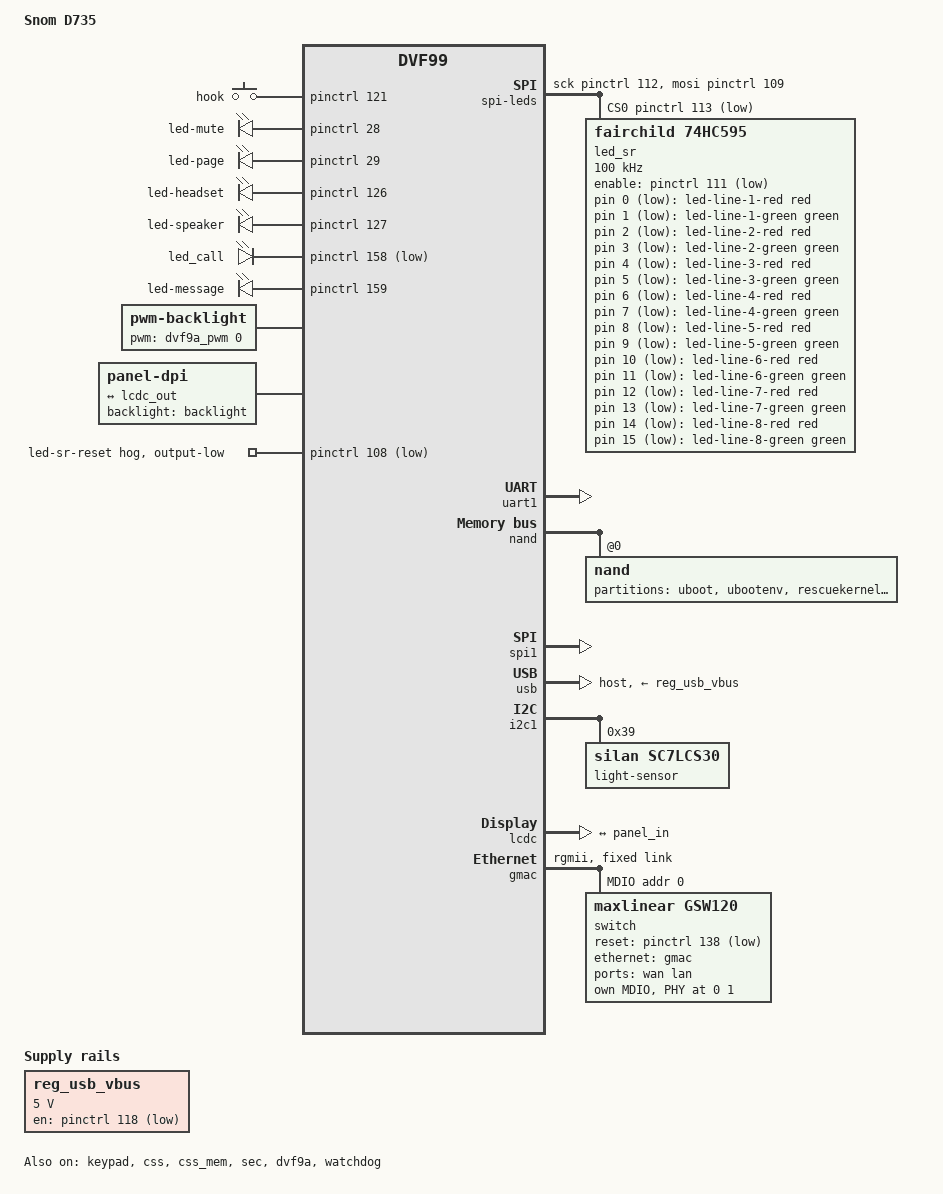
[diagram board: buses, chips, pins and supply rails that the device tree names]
// SPDX-License-Identifier: GPL-2.0-only OR MIT
/*
 * Copyright (C) 2026 John Crispin <john@phrozen.org>
 */

/dts-v1/;

#include "dvf99.dtsi"

#include <dt-bindings/gpio/gpio.h>
#include <dt-bindings/input/input.h>
#include <dt-bindings/leds/common.h>

/ {
	model = "Snom D735";
	compatible = "snom,d735", "dspg,dvf99";

	aliases {
		serial0 = &uart1;
		serial1 = &uart2;
		ethernet0 = &gmac;
		led-boot = &led_call;
		led-failsafe = &led_call;
		led-upgrade = &led_call;
	};

	chosen {
		bootargs = "console=ttyS0,115200 earlycon";
		stdout-path = "serial0:115200n8";
	};

	keys {
		compatible = "gpio-keys";

		hook {
			label = "hook";
			gpios = <&pinctrl 121 GPIO_ACTIVE_HIGH>;
			linux,code = <KEY_PHONE>;
			debounce-interval = <50>;
		};
	};

	spi-leds {
		compatible = "spi-gpio";
		#address-cells = <1>;
		#size-cells = <0>;
		sck-gpios = <&pinctrl 112 GPIO_ACTIVE_HIGH>;
		mosi-gpios = <&pinctrl 109 GPIO_ACTIVE_HIGH>;
		cs-gpios = <&pinctrl 113 GPIO_ACTIVE_LOW>;
		num-chipselects = <1>;

		led_sr: gpio@0 {
			compatible = "fairchild,74hc595";
			reg = <0>;
			spi-max-frequency = <100000>;
			gpio-controller;
			#gpio-cells = <2>;
			registers-number = <2>;
			enable-gpios = <&pinctrl 111 GPIO_ACTIVE_LOW>;
		};
	};

	leds {
		compatible = "gpio-leds";

		led-mute {
			function = LED_FUNCTION_MUTE;
			gpios = <&pinctrl 28 GPIO_ACTIVE_HIGH>;
			default-state = "keep";
		};

		led-page {
			function = "page";
			gpios = <&pinctrl 29 GPIO_ACTIVE_HIGH>;
			default-state = "keep";
		};

		led-headset {
			function = "headset";
			gpios = <&pinctrl 126 GPIO_ACTIVE_HIGH>;
			default-state = "keep";
		};

		led-speaker {
			function = "speaker";
			gpios = <&pinctrl 127 GPIO_ACTIVE_HIGH>;
			default-state = "keep";
		};

		led_call: led-call {
			function = "call";
			gpios = <&pinctrl 158 GPIO_ACTIVE_LOW>;
			default-state = "keep";
		};

		led-message {
			function = "message";
			gpios = <&pinctrl 159 GPIO_ACTIVE_HIGH>;
			default-state = "keep";
		};

		led-line-1-red {
			color = <LED_COLOR_ID_RED>;
			function = "line";
			function-enumerator = <1>;
			gpios = <&led_sr 0 GPIO_ACTIVE_LOW>;
		};

		led-line-1-green {
			color = <LED_COLOR_ID_GREEN>;
			function = "line";
			function-enumerator = <1>;
			gpios = <&led_sr 1 GPIO_ACTIVE_LOW>;
		};

		led-line-2-red {
			color = <LED_COLOR_ID_RED>;
			function = "line";
			function-enumerator = <2>;
			gpios = <&led_sr 2 GPIO_ACTIVE_LOW>;
		};

		led-line-2-green {
			color = <LED_COLOR_ID_GREEN>;
			function = "line";
			function-enumerator = <2>;
			gpios = <&led_sr 3 GPIO_ACTIVE_LOW>;
		};

		led-line-3-red {
			color = <LED_COLOR_ID_RED>;
			function = "line";
			function-enumerator = <3>;
			gpios = <&led_sr 4 GPIO_ACTIVE_LOW>;
		};

		led-line-3-green {
			color = <LED_COLOR_ID_GREEN>;
			function = "line";
			function-enumerator = <3>;
			gpios = <&led_sr 5 GPIO_ACTIVE_LOW>;
		};

		led-line-4-red {
			color = <LED_COLOR_ID_RED>;
			function = "line";
			function-enumerator = <4>;
			gpios = <&led_sr 6 GPIO_ACTIVE_LOW>;
		};

		led-line-4-green {
			color = <LED_COLOR_ID_GREEN>;
			function = "line";
			function-enumerator = <4>;
			gpios = <&led_sr 7 GPIO_ACTIVE_LOW>;
		};

		led-line-5-red {
			color = <LED_COLOR_ID_RED>;
			function = "line";
			function-enumerator = <5>;
			gpios = <&led_sr 8 GPIO_ACTIVE_LOW>;
		};

		led-line-5-green {
			color = <LED_COLOR_ID_GREEN>;
			function = "line";
			function-enumerator = <5>;
			gpios = <&led_sr 9 GPIO_ACTIVE_LOW>;
		};

		led-line-6-red {
			color = <LED_COLOR_ID_RED>;
			function = "line";
			function-enumerator = <6>;
			gpios = <&led_sr 10 GPIO_ACTIVE_LOW>;
		};

		led-line-6-green {
			color = <LED_COLOR_ID_GREEN>;
			function = "line";
			function-enumerator = <6>;
			gpios = <&led_sr 11 GPIO_ACTIVE_LOW>;
		};

		led-line-7-red {
			color = <LED_COLOR_ID_RED>;
			function = "line";
			function-enumerator = <7>;
			gpios = <&led_sr 12 GPIO_ACTIVE_LOW>;
		};

		led-line-7-green {
			color = <LED_COLOR_ID_GREEN>;
			function = "line";
			function-enumerator = <7>;
			gpios = <&led_sr 13 GPIO_ACTIVE_LOW>;
		};

		led-line-8-red {
			color = <LED_COLOR_ID_RED>;
			function = "line";
			function-enumerator = <8>;
			gpios = <&led_sr 14 GPIO_ACTIVE_LOW>;
		};

		led-line-8-green {
			color = <LED_COLOR_ID_GREEN>;
			function = "line";
			function-enumerator = <8>;
			gpios = <&led_sr 15 GPIO_ACTIVE_LOW>;
		};
	};

	reg_usb_vbus: regulator-usb-vbus {
		compatible = "regulator-fixed";
		regulator-name = "usb-vbus";
		regulator-min-microvolt = <5000000>;
		regulator-max-microvolt = <5000000>;
		gpio = <&pinctrl 118 GPIO_ACTIVE_LOW>;
		regulator-boot-on;
	};

	backlight: backlight {
		compatible = "pwm-backlight";
		pwms = <&dvf9a_pwm 0 20833>;
		brightness-levels = <0 4 8 16 32 64 128 255>;
		default-brightness-level = <7>;
	};

	panel {
		compatible = "panel-dpi";
		backlight = <&backlight>;

		panel-timing {
			clock-frequency = <9778100>;
			hactive = <320>;
			vactive = <240>;
			hfront-porch = <13>;
			hback-porch = <10>;
			hsync-len = <10>;
			vfront-porch = <33>;
			vback-porch = <2>;
			vsync-len = <2>;
			hsync-active = <1>;
			vsync-active = <0>;
		};

		port {
			panel_in: endpoint {
				remote-endpoint = <&lcdc_out>;
			};
		};
	};
};

&pinctrl {
	led-sr-reset-hog {
		gpio-hog;
		gpios = <108 GPIO_ACTIVE_LOW>;
		output-low;
		line-name = "led-sr-reset";
	};
};

&uart1 {
	status = "okay";
};

&nand {
	status = "okay";

	nand@0 {
		partitions {
			compatible = "fixed-partitions";
			#address-cells = <1>;
			#size-cells = <1>;

			partition@0 {
				label = "uboot";
				reg = <0x0000000 0x0200000>;
				read-only;
			};

			partition@200000 {
				label = "ubootenv";
				reg = <0x0200000 0x0100000>;
			};

			partition@300000 {
				label = "rescuekernel";
				reg = <0x0300000 0x0400000>;
				read-only;
			};

			partition@700000 {
				label = "rescuefs";
				reg = <0x0700000 0x0800000>;
				read-only;
			};

			partition@f00000 {
				label = "data";
				reg = <0x0f00000 0x00c0000>;
				read-only;
			};

			partition@fc0000 {
				label = "ubi";
				reg = <0x0fc0000 0x7040000>;
			};
		};
	};
};

&keypad {
	keypad,num-rows = <6>;
	keypad,num-columns = <8>;
	linux,keymap = <
		MATRIX_KEY(0, 0, KEY_F1)
		MATRIX_KEY(1, 0, KEY_F10)
		MATRIX_KEY(2, 0, KEY_UP)
		MATRIX_KEY(3, 0, KEY_F11)
		MATRIX_KEY(4, 0, KEY_F12)
		MATRIX_KEY(5, 0, KEY_F5)
		MATRIX_KEY(0, 1, KEY_F2)
		MATRIX_KEY(1, 1, KEY_LEFT)
		MATRIX_KEY(2, 1, KEY_OK)
		MATRIX_KEY(3, 1, KEY_RIGHT)
		MATRIX_KEY(4, 1, KEY_ESC)
		MATRIX_KEY(5, 1, KEY_F6)
		MATRIX_KEY(0, 2, KEY_F3)
		MATRIX_KEY(2, 2, KEY_DOWN)
		MATRIX_KEY(5, 2, KEY_F7)
		MATRIX_KEY(0, 3, KEY_F4)
		MATRIX_KEY(1, 3, KEY_NUMERIC_1)
		MATRIX_KEY(2, 3, KEY_NUMERIC_2)
		MATRIX_KEY(3, 3, KEY_NUMERIC_3)
		MATRIX_KEY(4, 3, KEY_MENU)
		MATRIX_KEY(5, 3, KEY_F8)
		MATRIX_KEY(0, 4, KEY_F9)
		MATRIX_KEY(1, 4, KEY_NUMERIC_4)
		MATRIX_KEY(2, 4, KEY_NUMERIC_5)
		MATRIX_KEY(3, 4, KEY_NUMERIC_6)
		MATRIX_KEY(4, 4, KEY_ADDRESSBOOK)
		MATRIX_KEY(5, 4, KEY_PROG1)
		MATRIX_KEY(0, 5, KEY_PROG2)
		MATRIX_KEY(1, 5, KEY_NUMERIC_7)
		MATRIX_KEY(2, 5, KEY_NUMERIC_8)
		MATRIX_KEY(3, 5, KEY_NUMERIC_9)
		MATRIX_KEY(4, 5, KEY_FORWARD)
		MATRIX_KEY(5, 5, KEY_MESSENGER)
		MATRIX_KEY(0, 6, KEY_PROG3)
		MATRIX_KEY(1, 6, KEY_NUMERIC_STAR)
		MATRIX_KEY(2, 6, KEY_NUMERIC_0)
		MATRIX_KEY(3, 6, KEY_NUMERIC_POUND)
		MATRIX_KEY(4, 6, KEY_PAUSE)
		MATRIX_KEY(5, 6, KEY_PROG4)
		MATRIX_KEY(1, 7, KEY_MUTE)
		MATRIX_KEY(2, 7, KEY_VOLUMEDOWN)
		MATRIX_KEY(3, 7, KEY_VOLUMEUP)
		MATRIX_KEY(4, 7, KEY_SOUND)
	>;
	status = "okay";
};

&spi1 {
	status = "okay";
};

&css {
	status = "okay";
};

&css_mem {
	status = "okay";
};

&sec {
	status = "okay";
};

&dvf9a {
	status = "okay";
};

&dvf9a_codec {
	dspg,filterless;
};

&usb {
	dr_mode = "host";
	vbus-supply = <&reg_usb_vbus>;
	status = "okay";
};

&mmc {
	bus-width = <4>;
	max-frequency = <10000000>;
	cap-sd-highspeed;
	cap-mmc-highspeed;
	status = "disabled";
};

&i2c1 {
	status = "okay";

	light-sensor@39 {
		compatible = "silan,sc7lcs30";
		reg = <0x39>;
	};
};

&lcdc {
	status = "okay";

	port {
		lcdc_out: endpoint {
			remote-endpoint = <&panel_in>;
		};
	};
};

&gmac {
	phy-mode = "rgmii";
	status = "okay";

	fixed-link {
		speed = <1000>;
		full-duplex;
	};

	mdio {
		compatible = "snps,dwmac-mdio";
		#address-cells = <1>;
		#size-cells = <0>;

		switch@0 {
			compatible = "maxlinear,gsw120";
			reg = <0>;
			reset-gpios = <&pinctrl 138 GPIO_ACTIVE_LOW>;
			reset-assert-us = <300000>;
			reset-deassert-us = <1000000>;

			ports {
				#address-cells = <1>;
				#size-cells = <0>;

				port@0 {
					reg = <0>;
					label = "wan";
					phy-handle = <&switchphy0>;
					phy-mode = "internal";
				};

				port@1 {
					reg = <1>;
					label = "lan";
					phy-handle = <&switchphy1>;
					phy-mode = "internal";
				};

				port@5 {
					reg = <5>;
					ethernet = <&gmac>;
					phy-mode = "rgmii";
					tx-internal-delay-ps = <2000>;
					rx-internal-delay-ps = <0>;

					fixed-link {
						speed = <1000>;
						full-duplex;
					};
				};
			};

			mdio {
				#address-cells = <1>;
				#size-cells = <0>;

				switchphy0: ethernet-phy@0 {
					reg = <0>;
				};

				switchphy1: ethernet-phy@1 {
					reg = <1>;
				};
			};
		};
	};
};

&watchdog {
	status = "okay";
};
